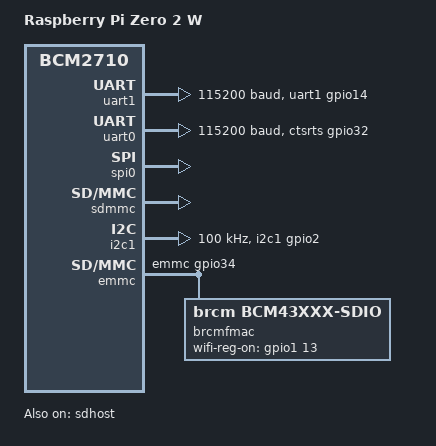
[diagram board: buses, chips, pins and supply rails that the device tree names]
/*
 * Copyright (c) 2026 Jonathan Elliot Peace <jep@alphabetiq.com>
 *
 * SPDX-License-Identifier: Apache-2.0
 */

/dts-v1/;

#include <broadcom/bcm2710.dtsi>
#include <broadcom/bcm2711-pinctrl.dtsi>
#include <zephyr/dt-bindings/gpio/gpio.h>
#include <zephyr/dt-bindings/i2c/i2c.h>

/ {
	model = "Raspberry Pi Zero 2 W";
	compatible = "raspberrypi,model-zero-2-w", "brcm,bcm2710";

	chosen {
		zephyr,console = &uart1;
		zephyr,shell-uart = &uart1;
		zephyr,sram = &sram0;
		zephyr,entropy = &rng;
		/* The OUTER zephyr,bt-hci-uart node (the H:4 driver), not the
		 * inner vendor node. Unused unless CONFIG_BT.
		 */
		zephyr,bt-hci = &bt_hci_uart;
	};

	aliases {
		die-temp0 = &vc_thermal;
	};

	aliases {
		sdhc0 = &sdhost;
	};

	aliases {
		sdhc0 = &emmc;
	};
};

&uart1 {
	pinctrl-names = "default";
	pinctrl-0 = <&uart1_gpio14>;
	current-speed = <115200>;
	status = "okay";
};

/* PL011 uart0 -> on-module CYW43436 Bluetooth HCI. A board-level fact
 * like the SDIO wireless below: GPIO 32/33 TXD0/RXD0 + GPIO 30/31
 * CTS0/RTS0 (ALT3, internal to the module -- not on the header), and
 * BT_REG_ON on GPIO 45 = bank1 pin 17 (sequenced by the AIROC driver).
 * Inert without CONFIG_BT: the H:4 + AIROC drivers are only compiled
 * with the BT stack; for everyone else uart0 just sits idle on the
 * internal pins. Baud stays 115200 -- fw-download-speed and
 * hci-operation-speed are deliberately omitted so the driver never
 * re-rates the UART. The PL011 drives real RTS/CTS (hw-flow-control).
 */
&uart0 {
	status = "okay";
	current-speed = <115200>;
	hw-flow-control;
	pinctrl-0 = <&uart0_ctsrts_gpio32>;
	pinctrl-names = "default";

	bt_hci_uart: bt_hci_uart {
		compatible = "zephyr,bt-hci-uart";
		status = "okay";

		bt_hci: bt-hci {
			compatible = "infineon,bt-hci-uart";
			bt-reg-on-gpios = <&gpio1 17 GPIO_ACTIVE_HIGH>;
		};
	};
};

/*
 * Enable SPI0 on the 40-pin header. No pinctrl-0 here: SPI pin
 * roles can be application-specific (e.g. a display sharing the
 * MISO pin for a D/C line), so muxing is left to an application
 * overlay.
 */
&spi0 {
	status = "okay";
};

/* Legacy SDHost controller -> external microSD card slot. The slot
 * is a board-level fact (PCB pad, GPIO 48..53 ALT0 routing is fixed),
 * so the enablement and sdmmc-disk child live in the board DTS.
 */
&sdhost {
	pinctrl-names = "default";
	pinctrl-0 = <&sdhost_gpio48>;
	status = "okay";

	sdmmc {
		compatible = "zephyr,sdmmc-disk";
		disk-name = "SD";
	};
};

/*
 * BSC1 ("I2C1") on the 40-pin header -- GPIO 2 (SDA) and GPIO 3 (SCL).
 * The I2C pin roles on the header are fixed, so the pinctrl group is
 * wired here at the board level. clock-frequency defaults to 100 kHz;
 * an overlay can step it up to 400 kHz for fast-mode devices.
 */
&i2c1 {
	pinctrl-names = "default";
	pinctrl-0 = <&i2c1_gpio2>;
	clock-frequency = <I2C_BITRATE_STANDARD>;
	status = "okay";
};

/* GPIO bank 1 (GPIO 28..45). Pin 41 carries WL_REG_ON for the
 * on-module wireless chip; enabling the bank makes the line
 * available to the brcmfmac driver.
 */
&gpio1 {
	status = "okay";
};

&dma {
	status = "okay";
};

/* Arasan SDHCI -> on-module CYW43xx SDIO wireless chip. The slot is
 * a board-level fact (PCB pad, GPIO 34..39 ALT3 + GPCLK2 on GPIO 43);
 * the routing lives in the board DTS.
 */
&emmc {
	pinctrl-names = "default";
	pinctrl-0 = <&emmc_gpio34>;
	status = "okay";

	brcmfmac: brcmfmac {
		compatible = "brcm,bcm43xxx-sdio";
		wifi-reg-on-gpios = <&gpio1 13 GPIO_ACTIVE_HIGH>;
		status = "okay";
	};
};
